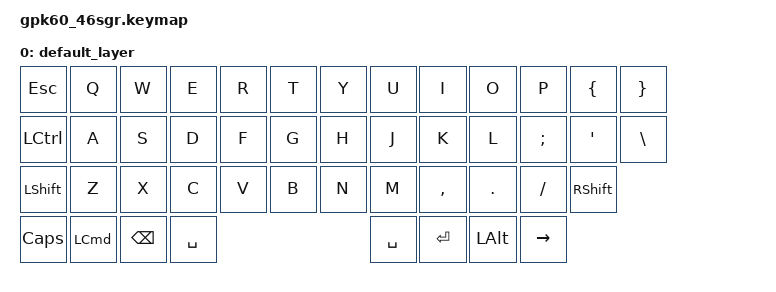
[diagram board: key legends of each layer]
/*
 * Copyright (c) 2021 The ZMK Contributors
 *
 * SPDX-License-Identifier: MIT
 */

#include <behaviors.dtsi>
#include <dt-bindings/zmk/keys.h>
// #include <dt-bindings/zmk/bt.h>
// #include <dt-bindings/zmk/outputs.h>


/ {
    keymap {
        compatible = "zmk,keymap";

        default_layer {
            bindings = <
                &kp ESC     &kp Q   &kp W   &kp E   &kp R   &kp T       &kp Y   &kp U       &kp I       &kp O       &kp P       &kp LBRC    &kp RBRC
                &kp LCTRL   &kp A   &kp S   &kp D   &kp F   &kp G       &kp H   &kp J       &kp K       &kp L       &kp SEMI    &kp SQT     &kp BSLH
                &kp LSHFT   &kp Z   &kp X   &kp C   &kp V   &kp B       &kp N   &kp M       &kp COMMA   &kp DOT     &kp FSLH    &kp RSHFT
                &kp CAPS            &kp LCMD    &kp BSPC    &kp SPACE   &kp SPACE   &kp RET     &kp LALT            &kp RIGHT
            >;
        };
    };
};
